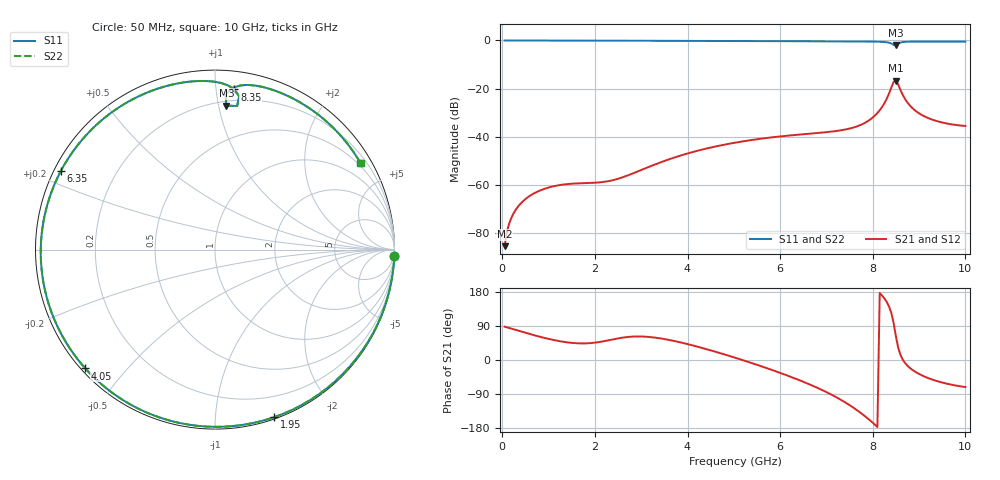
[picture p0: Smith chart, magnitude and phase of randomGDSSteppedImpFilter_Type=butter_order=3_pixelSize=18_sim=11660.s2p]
! freq	dB(S11)	phase(S11)	dB(S12)	phase(S12)
!  dB(S21)	phase(S21)	dB(S22)	phase(S22)
!S-par simulation data
#  GHz  S  DB  R 50
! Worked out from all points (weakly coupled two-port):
!   200 points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, 50 MHz to 10 GHz, reference 50 ohm
!   highest |S21| = -16.68 dB at 8.5 GHz (marker M1); lowest = -85.6 dB at 50 MHz (marker M2)
!   lowest |S11| = -1.9 dB at 8.5 GHz (marker M3), VSWR 9.26, Z = 11.6 + j52.8 ohm
!   |S11| at or under -10 dB: nowhere
!   |S22| runs from -1.9 to 0.0 dB; largest |S21 - S12| = 0
!   S11 on the Smith chart (normalised r, x): 50 MHz: 0, -61; 1.95 GHz: 0.02, -1.41; 4.05 GHz: 0.01, -0.39; 6.35 GHz: 0.02, +0.24; 8.35 GHz: 0.12, +1.12; 10 GHz: 0.41, +3.59
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0.05  -0.00 -1.9  -85.62 88.0  -85.62 88.0  -0.00 -1.9
0.1  -0.00 -3.8  -79.61 86.2  -79.61 86.2  -0.00 -3.8
0.2  -0.01 -7.5  -73.64 82.6  -73.64 82.6  -0.01 -7.5
0.3  -0.02 -11.2  -70.20 78.9  -70.20 78.9  -0.02 -11.2
0.6  -0.03 -22.4  -64.62 68.2  -64.62 68.2  -0.03 -22.4
1.1  -0.05 -40.6  -60.72 53.0  -60.72 53.0  -0.05 -40.6
1.75  -0.08 -63.7  -59.40 43.8  -59.40 43.8  -0.08 -63.7
1.95  -0.09 -70.5  -59.27 45.1  -59.27 45.1  -0.09 -70.5
2.65  -0.11 -93.8  -56.60 59.9  -56.60 59.9  -0.11 -93.9
3.4  -0.15 -117.6  -50.86 57.3  -50.86 57.3  -0.15 -117.6
4.05  -0.18 -137.5  -46.77 40.4  -46.77 40.4  -0.18 -137.5
5.05  -0.23 -167.5  -42.47 5.2  -42.47 5.2  -0.23 -167.5
6.35  -0.32 152.9  -39.29 -50.2  -39.29 -50.2  -0.32 152.8
6.7  -0.35 141.8  -38.70 -67.8  -38.70 -67.8  -0.35 141.7
7.8  -0.45 105.0  -34.60 -145.3  -34.60 -145.3  -0.45 104.9
8.1  -0.52 93.9  -30.19 -176.9  -30.19 -176.9  -0.52 93.8
8.35  -0.93 83.1  -22.12 141.6  -22.12 141.6  -0.93 83.0
8.45  -1.84 81.3  -17.24 97.8  -17.24 97.8  -1.84 81.2
8.5  -1.88 85.5  -16.68 62.2  -16.68 62.2  -1.89 85.3
8.75  -0.53 76.3  -25.88 -15.2  -25.88 -15.2  -0.53 76.2
9  -0.47 66.2  -30.34 -36.9  -30.34 -36.9  -0.47 66.1
10  -0.51 30.8  -35.60 -71.5  -35.60 -71.5  -0.51 30.6
